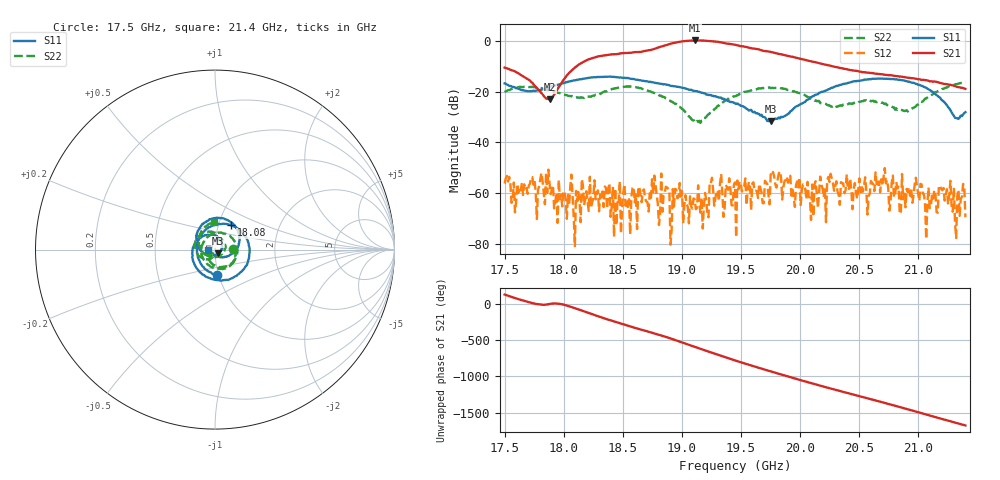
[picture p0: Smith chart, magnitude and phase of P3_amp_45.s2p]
!Created with skrf (http://scikit-rf.org).
# GHz S RI R 50.0
!freq ReS11 ImS11 ReS21 ImS21 ReS12 ImS12 ReS22 ImS22
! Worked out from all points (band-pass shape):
!   401 points, 17.5 GHz to 21.4 GHz, reference 50 ohm
!   highest |S21| = 0.06 dB at 19.11 GHz (marker M1); lowest = -23.1 dB at 17.88 GHz (marker M2)
!   |S21| within 3 dB of the highest: 18.78 GHz to 19.58 GHz (796.4 MHz wide, 4.15 % of centre)
!   lowest |S11| = -31.7 dB at 19.75 GHz (marker M3), VSWR 1.05, Z = 51.7 - j2.04 ohm
!   |S11| at or under -10 dB: start of sweep to end of sweep
!   |S22| runs from -32.3 to -16.2 dB; largest |S21 - S12| = 1
!   S11 on the Smith chart (normalised r, x): 17.5 GHz: 0.98, -0.29; 18.08 GHz: 1.15, +0.32; 21.4 GHz: 0.92, -0.00
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17.5  0.00976 -0.1437  -0.1661 0.244  -0.0012 0.000992  0.0979 0.00116
17.578  -0.0545 -0.1097  0.0367 0.2517  -0.00153 0.000546  0.1131 -0.023
17.88025  -0.0522 0.1096  0.0697 -0.00672  -8.34e-07 0.00157  0.0029 -0.1035
18.07525  0.0899 0.136  0.1649 -0.2119  0.000496 0.000763  -0.0731 -0.0304
18.15325  0.1405 0.1042  -0.0365 -0.3663  0.00117 -0.00152  -0.0739 0.019
18.319  0.1916 -0.0232  -0.4966 0.0853  0.000613 -0.000571  0.0127 0.0919
18.4945  0.1128 -0.1484  0.102 0.5564  -0.000375 -0.000311  0.1217 0.0167
18.66025  -0.0213 -0.163  0.6043 -0.000916  0.000604 -0.000282  0.0675 -0.0925
18.8065  -0.1056 -0.099  0.2723 -0.6907  0.000193 0.00014  -0.00921 -0.0843
18.99175  -0.1176 0.0219  -0.9343 -0.1921  -0.000749 0.000165  -0.0353 -0.0326
19.10875  -0.0745 0.0701  -0.5788 0.8238  -0.000419 0.000631  -0.0177 -0.0197
19.1965  -0.0389 0.0831  0.243 0.9662  0.000742 0.000694  -0.00886 -0.029
19.294  0.00155 0.0786  0.8851 0.3583  0.00108 -0.000366  -0.0196 -0.0445
19.45  0.0336 0.0479  0.3946 -0.7278  0.00164 7.04e-05  -0.0639 -0.0493
19.61575  0.0391 0.0083  -0.5672 -0.4033  0.00111 7.87e-06  -0.1091 0.00124
19.75225  0.0171 -0.0197  -0.5106 0.3193  0.000765 -0.00224  -0.0962 0.0652
19.88875  -0.0142 -0.0319  0.0681 0.5012  0.000895 -0.00194  -0.0436 0.0999
20.10325  -0.0793 -0.00684  0.3692 -0.1173  -0.00138 -0.000549  0.0146 0.0689
20.2495  -0.1017 0.0474  0.0374 -0.3212  -0.00159 0.000521  0.0135 0.0518
20.425  -0.0808 0.1277  -0.2473 -0.0918  -0.00162 0.00107  0.016 0.0559
20.7565  0.0845 0.1547  0.115 0.1741  -6.18e-05 0.000453  0.0536 -0.00533
21.4  -0.0393 -0.000362  -0.0631 0.0934  -0.000338 -2.88e-05  -0.00703 0.1556
